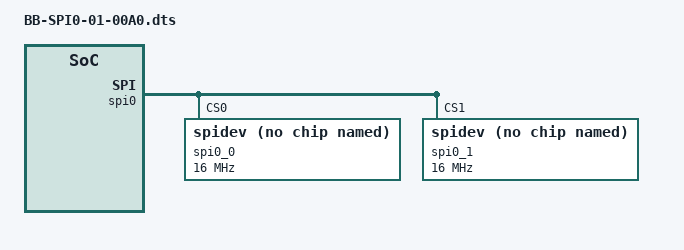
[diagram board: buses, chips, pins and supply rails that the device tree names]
/*

	SPI1 .dts file from 
	http://hipstercircuits.com/enable-spi-with-device-tree-on-beaglebone-black-copy-paste/
	Conversion from SPI1 to SPI0 with hints from http://blog.inbedded.net/
*/

/dts-v1/;
/plugin/;

/ {
    compatible = "ti,beaglebone", "ti,beaglebone-black";

    /* identification */
    part-number = "BB-SPI0-01";

    /* version */
    version = "00A0";

    /* state the resources this cape uses */
    exclusive-use =
        /* the pin header uses */
        "P9.22",	/* spi0_sclk	*/
        "P9.21",	/* spi0_d0	*/
        "P9.18",	/* spi0_d1	*/
        "P9.17",	/* spi0_cs0	*/
        "spi0";

    fragment@0 {
        target = <&am33xx_pinmux>;
        __overlay__ {
            pinctrl_spi0: pinctrl_spi0_pins {
                pinctrl-single,pins = <                                        
                    0x150 0x10	/* P9_22 = mcasp0_aclkx.spi0_sclk, OUTPUT_PULLUP | MODE0 */
                    0x154 0x30	/* P9_21 = mcasp0_fsx.spi0_d0,     INPUT_PULLUP  | MODE0 */
                    0x158 0x10	/* P9_18 = mcasp0_axr0.spi0_d1,    OUTPUT_PULLUP | MODE0 */
                    0x15c 0x10	/* P9_17 = mcasp0_ahclkr.spi0_cs0, OUTPUT_PULLUP | MODE0 */
                >;
            };
        };
    };


    fragment@1 {
        target = <&spi0>;
        __overlay__ {
            #address-cells	= <1>;
            #size-cells		= <0>;
            status		= "okay";
            pinctrl-names	= "default";
            pinctrl-0		= <&pinctrl_spi0>;    

            spi0_0{
                #address-cells	= <1>;
                #size-cells	= <0>;
                compatible	= "spidev";
                reg		= <0>;
                spi-max-frequency = <16000000>;
                spi-cpha;          
            };
            spi0_1{
                #address-cells	= <1>;
                #size-cells	= <0>;
                compatible	= "spidev";
                reg		= <1>;
                spi-max-frequency = <16000000>;
                // Mode 0 (CPOL = 0, CPHA = 0)
            };
        };
    };
};
